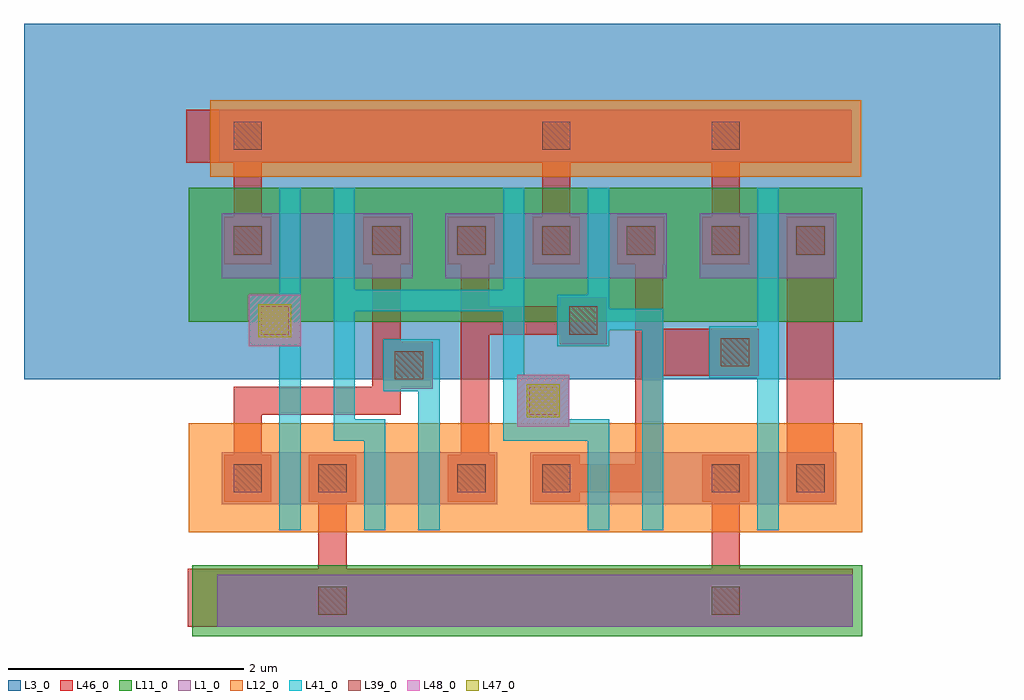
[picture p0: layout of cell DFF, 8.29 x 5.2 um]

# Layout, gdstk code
import gdstk
lib = gdstk.Library(unit=1e-6, precision=1e-09)
def R(c, l, rs):  # rectangles x0, y0, x1, y1
    for r in rs: c.add(gdstk.rectangle(r[:2], r[2:], *l))
def A(c, l, x, y, w, h, nx, ny, dx, dy):  # array of equal rectangles
    R(c, l, [(x+i*dx, y+j*dy, x+i*dx+w, y+j*dy+h) for i in range(nx) for j in range(ny)])
def P(c, l, *ps):  # polygons
    for p in ps: c.add(gdstk.Polygon(p, *l))
L1_0 = (1, 0)
L3_0 = (3, 0)
L11_0 = (11, 0)
L12_0 = (12, 0)
L39_0 = (39, 0)
L41_0 = (41, 0)
L46_0 = (46, 0)
L47_0 = (47, 0)
L48_0 = (48, 0)

m1_m2_via_cdns_673264421 = lib.new_cell('M1_M2_via_CDNS_673264421620')
R(m1_m2_via_cdns_673264421, L46_0, [(-0.22,-0.22,0.22,0.22)])
R(m1_m2_via_cdns_673264421, L47_0, [(-0.14,-0.14,0.14,0.14)])
R(m1_m2_via_cdns_673264421, L48_0, [(-0.22,-0.22,0.22,0.22)])

dff = lib.new_cell('DFF')
R(dff, L1_0, [(1.67,-1.22,7.07,-0.78), (1.71,-0.18,4.05,0.26), (4.33,-0.18,6.93,0.26), (1.71,1.74,3.33,2.29), (3.61,1.74,5.49,2.29), (5.77,1.74,6.93,2.29), (1.69,2.73,7.06,3.17)])
R(dff, L3_0, [(0.03,0.88,8.32,3.9)])
R(dff, L11_0, [(1.46,-1.3,7.15,-0.7), (1.43,1.37,7.15,2.51)])
R(dff, L12_0, [(1.43,-0.42,7.15,0.51), (1.61,2.6,7.14,3.25)])
A(dff, L39_0, 2.99, 1.94, 0.24, 0.24, 6, 1, 0.72, 0)
R(dff, L39_0, [(2.53,-1.12,2.77,-0.88), (5.87,-1.12,6.11,-0.88), (1.81,-0.08,2.05,0.16), (2.53,-0.08,2.77,0.16), (3.71,-0.08,3.95,0.16), (4.43,-0.08,4.67,0.16), (5.87,-0.08,6.11,0.16), (6.59,-0.08,6.83,0.16), (4.32,0.58,4.56,0.82), (3.18,0.88,3.42,1.12), (5.95,0.99,6.19,1.23), (2.04,1.26,2.28,1.5), (4.66,1.26,4.9,1.5), (1.81,1.94,2.05,2.18), (1.81,2.83,2.05,3.07), (4.43,2.83,4.67,3.07), (5.87,2.83,6.11,3.07)])
R(dff, L41_0, [(2.92,-0.4,3.1,0.48), (3.38,-0.4,3.56,1.22), (4.82,-0.4,5,0.36), (5.28,-0.4,5.46,0.82), (6.26,-0.4,6.44,0.89), (2.66,0.36,2.84,1.58), (2.66,0.36,3.1,0.54), (4.1,0.36,4.28,1.56), (4.28,0.36,5,0.54), (4.2,0.46,4.66,0.92), (3.08,0.78,3.52,1.22), (5.28,0.82,5.46,1.48), (5.85,0.89,6.29,1.33), (1.94,1.16,2.38,1.6), (4.56,1.16,5,1.6), (4.96,1.3,5.46,1.48), (2.66,1.46,4.12,1.64)])
P(dff, L41_0, [(4.82,2.51),(4.82,1.42),(4.98,1.42),(4.98,1.6),(5,1.6),(5,2.51)])
A(dff, L46_0, 2.91, 1.86, 0.4, 0.4, 5, 1, 0.72, 0)
R(dff, L46_0, [(1.42,-1.22,7.07,-0.73), (1.73,-0.16,2.13,0.24), (2.45,-0.16,2.85,0.24), (3.63,-0.16,4.03,0.24), (4.35,-0.16,4.75,0.24), (5.79,-0.16,6.19,0.24), (6.51,-0.16,6.91,0.24), (6.51,-0.16,6.91,2.26), (3.1,0.8,3.5,1.2), (5.22,0.91,6.27,1.31), (1.96,1.18,2.36,1.58), (4.58,1.18,4.98,1.58), (1.73,1.86,2.13,2.26), (1.41,2.72,7.06,3.17)])
R(dff, L48_0, [(4.44,0.56,4.45,0.84)])
dff.add(gdstk.FlexPath([(1.93,0.7),(3.11,0.7),(3.11,2.18)], 0.24, ends=(0.12, 0), simple_path=True, layer=46, datatype=0))  # L46_0
dff.add(gdstk.FlexPath([(2.65,0.16),(2.65,-1.12)], 0.24, ends="flush", simple_path=True, layer=46, datatype=0))  # L46_0
dff.add(gdstk.FlexPath([(3.42,1),(3.11,1)], 0.24, ends=(0, 0.12), simple_path=True, layer=46, datatype=0))  # L46_0
dff.add(gdstk.FlexPath([(3.86,2.18),(3.86,-0.08)], 0.24, ends="flush", simple_path=True, layer=46, datatype=0))  # L46_0
dff.add(gdstk.FlexPath([(4.55,1.94),(4.55,3.07)], 0.24, ends="flush", simple_path=True, layer=46, datatype=0))  # L46_0
dff.add(gdstk.FlexPath([(4.55,-0.16),(4.55,0.04),(5.34,0.04),(5.34,2.18)], 0.24, ends="flush", simple_path=True, layer=46, datatype=0))  # L46_0
dff.add(gdstk.FlexPath([(4.9,1.38),(3.98,1.38)], 0.24, ends="flush", simple_path=True, layer=46, datatype=0))  # L46_0
dff.add(gdstk.FlexPath([(1.93,1.94),(1.93,3.07)], 0.24, ends="flush", simple_path=True, layer=46, datatype=0))  # L46_0
dff.add(gdstk.FlexPath([(1.93,-0.08),(1.93,0.7)], 0.24, ends=(0, 0.12), simple_path=True, layer=46, datatype=0))  # L46_0
dff.add(gdstk.FlexPath([(5.99,0.16),(5.99,-1.12)], 0.24, ends="flush", simple_path=True, layer=46, datatype=0))  # L46_0
dff.add(gdstk.FlexPath([(5.99,1.94),(5.99,3.07)], 0.24, ends="flush", simple_path=True, layer=46, datatype=0))  # L46_0
dff.add(gdstk.FlexPath([(2.29,2.51),(2.29,-0.4)], 0.18, ends="flush", simple_path=True, layer=41, datatype=0))  # L41_0
dff.add(gdstk.FlexPath([(2.75,2.51),(2.75,1.48)], 0.18, ends=(0, 0.09), simple_path=True, layer=41, datatype=0))  # L41_0
dff.add(gdstk.FlexPath([(4.19,1.65),(4.26,1.65)], 0.18, ends=(0.09, 0), simple_path=True, layer=41, datatype=0))  # L41_0
dff.add(gdstk.FlexPath([(4.19,2.51),(4.19,1.56)], 0.18, ends=(0, 0.09), simple_path=True, layer=41, datatype=0))  # L41_0
dff.add(gdstk.FlexPath([(6.35,2.51),(6.35,0.89)], 0.18, ends="flush", simple_path=True, layer=41, datatype=0))  # L41_0
dff.add(gdstk.Reference(m1_m2_via_cdns_673264421, (2.16,1.38)))
dff.add(gdstk.Reference(m1_m2_via_cdns_673264421, (4.44,0.7)))

lib.write_gds('DFF.gds')
